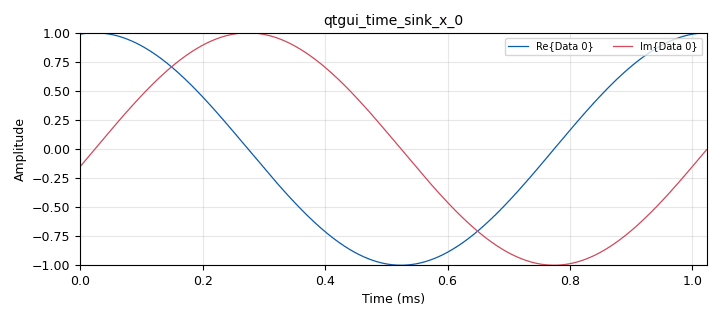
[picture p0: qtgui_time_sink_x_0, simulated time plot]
options:
  parameters:
    author: Igor Freire
    copyright: Blockstream Corp
    generate_options: qt_gui
    id: usrp_burst_cw_tx
    output_language: python
    title: USRP Burst CW Tx
  states: {}

blocks:
- name: gui_gain
  id: variable_qtgui_range
  parameters:
    label: Tx Gain
    orient: Qt.Horizontal
    start: '0'
    step: '1'
    stop: '50'
    value: gain if (gain is not None) else 0
  states: {}
- name: variable_0
  id: variable
  parameters:
    value: '0'
  states: {}
- name: addr
  id: parameter
  parameters:
    label: USRP Address
    short_id: a
    type: str
    value: 192.168.128.164
  states: {}
- name: analog_sig_source_x_0
  id: analog_sig_source_x
  parameters:
    amp: '1'
    freq: '1000'
    offset: '0'
    phase: '0'
    samp_rate: samp_rate
    type: complex
    waveform: analog.GR_COS_WAVE
  states: {}
- name: duty_cycle
  id: parameter
  parameters:
    label: Duty Cycle
    short_id: d
    type: eng_float
    value: '0.1'
  states: {}
- name: freq
  id: parameter
  parameters:
    label: Center Frequency
    short_id: f
    type: eng_float
    value: '5900000000'
  states: {}
- name: gain
  id: parameter
  parameters:
    label: Tx Gain
    short_id: g
    type: eng_float
    value: '0.0'
  states: {}
- name: gpio_debug
  id: parameter
  parameters:
    label: GPIO debugging mode
    type: intx
    value: '0'
  states: {}
- name: gpio_guard
  id: parameter
  parameters:
    label: GPIO guard period
    type: eng_float
    value: '0.0'
  states: {}
- name: in_gpio
  id: parameter
  parameters:
    label: Input GPIO pin to poll before/after Tx
    type: intx
    value: '-1'
  states: {}
- name: in_gpio_wait_val
  id: parameter
  parameters:
    label: Value to wait on input GPIO before transmitting.
    type: intx
    value: '1'
  states: {}
- name: out_gpio
  id: parameter
  parameters:
    label: Output GPIO pin to assert on Tx
    type: intx
    value: '-1'
  states: {}
- name: out_gpio_tx_val
  id: parameter
  parameters:
    label: Value to set on output GPIO when transmitting.
    type: intx
    value: '1'
  states: {}
- name: period
  id: parameter
  parameters:
    label: Burst Period
    short_id: p
    type: eng_float
    value: '4'
  states: {}
- name: qtgui_time_sink_x_0
  id: qtgui_time_sink_x
  parameters:
    size: '1024'
    srate: samp_rate
    type: complex
  states: {}
- name: radar_usrp_burst_tx_c_0
  id: radar_usrp_burst_tx_c
  parameters:
    antenna: '"TX/RX"'
    args: '''addr='' + addr'
    center_freq: freq
    clock_source: internal
    duty_cycle: duty_cycle
    gain: gui_gain
    gpio_debug: bool(gpio_debug)
    gpio_guard_period: gpio_guard
    in_gpio_pin: in_gpio
    in_gpio_wait_val: bool(in_gpio_wait_val)
    out_gpio_pin: out_gpio
    out_gpio_tx_val: bool(out_gpio_tx_val)
    period: period
    samp_rate: samp_rate
    time_source: internal
    wire: ''
  states: {}
- name: samp_rate
  id: parameter
  parameters:
    label: Sample Rate
    short_id: s
    type: eng_float
    value: 1e6
  states: {}

connections:
- [analog_sig_source_x_0, '0', qtgui_time_sink_x_0, '0']
- [analog_sig_source_x_0, '0', radar_usrp_burst_tx_c_0, '0']

metadata:
  file_format: 1
